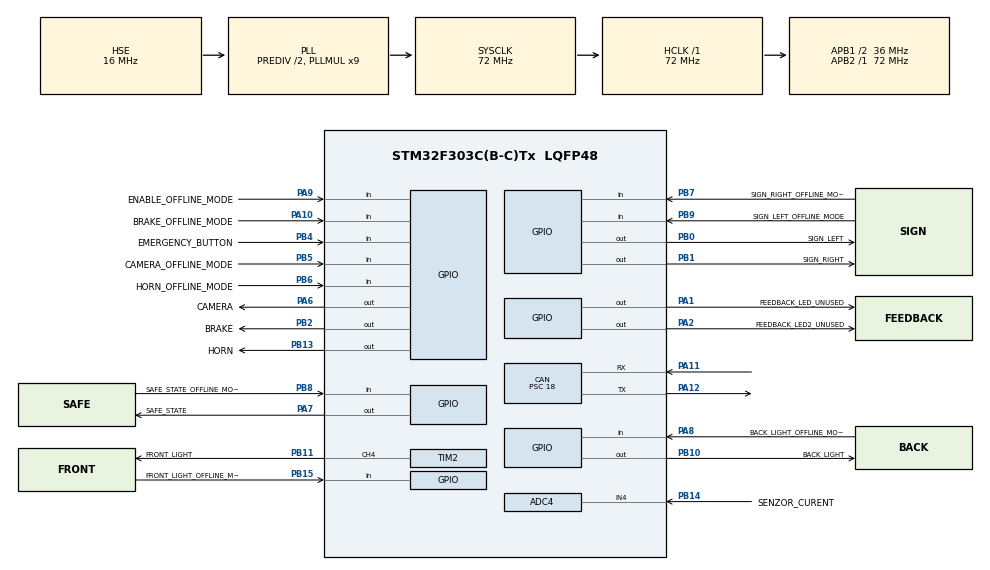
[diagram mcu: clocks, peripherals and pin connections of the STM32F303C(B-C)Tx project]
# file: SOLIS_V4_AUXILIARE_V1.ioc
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ADC4.Channel-0\#ChannelRegularConversion=ADC_CHANNEL_4
ADC4.NbrOfConversionFlag=1
ADC4.Offset-0\#ChannelRegularConversion=0
ADC4.OffsetNumber-0\#ChannelRegularConversion=ADC_OFFSET_NONE
ADC4.Rank-0\#ChannelRegularConversion=1
ADC4.SamplingTime-0\#ChannelRegularConversion=ADC_SAMPLETIME_1CYCLE_5
ADC4.SamplingTimeOPAMP-0\#ChannelRegularConversion=ADC_SAMPLETIME_61CYCLES_5
CAN.BS1=CAN_BS1_5TQ
CAN.BS2=CAN_BS2_2TQ
CAN.CalculateBaudRate=250000
CAN.CalculateTimeBit=4000
CAN.CalculateTimeQuantum=500.0
CAN.NART=ENABLE
CAN.Prescaler=18
Mcu.Family=STM32F3
Mcu.Name=STM32F303C(B-C)Tx
Mcu.Package=LQFP48
NVIC.PriorityGroup=NVIC_PRIORITYGROUP_4
NVIC.TIM3_IRQn=true\:0\:0\:false\:false\:true\:true\:true\:true
NVIC.TIM4_IRQn=true\:0\:0\:false\:false\:true\:true\:true\:true
NVIC.USB_LP_CAN_RX0_IRQn=true\:0\:0\:false\:false\:true\:true\:true\:true
PA1.GPIO_Label=FEEDBACK_LED_UNUSED
PA1.PinState=GPIO_PIN_SET
PA1.Signal=GPIO_Output
PA10.GPIO_Label=BRAKE_OFFLINE_MODE
PA10.Signal=GPIO_Input
PA11.Mode=CAN_Activate
PA11.Signal=CAN_RX
PA12.Mode=CAN_Activate
PA12.Signal=CAN_TX
PA13.Mode=Serial_Wire
PA13.Signal=SYS_JTMS-SWDIO
PA14.Mode=Serial_Wire
PA14.Signal=SYS_JTCK-SWCLK
PA2.GPIO_Label=FEEDBACK_LED2_UNUSED
PA2.PinState=GPIO_PIN_SET
PA2.Signal=GPIO_Output
PA6.GPIO_Label=CAMERA
PA6.Signal=GPIO_Output
PA7.GPIO_Label=SAFE_STATE
PA7.Signal=GPIO_Output
PA8.GPIO_Label=BACK_LIGHT_OFFLINE_MODE
PA8.Signal=GPIO_Input
PA9.GPIO_Label=ENABLE_OFFLINE_MODE
PA9.Signal=GPIO_Input
PB0.GPIO_Label=SIGN_LEFT
PB0.PinState=GPIO_PIN_SET
PB0.Signal=GPIO_Output
PB0.Stacked=true
PB1.GPIO_Label=SIGN_RIGHT
PB1.PinState=GPIO_PIN_SET
PB1.Signal=GPIO_Output
PB1.Stacked=true
PB10.GPIO_Label=BACK_LIGHT
PB10.PinState=GPIO_PIN_SET
PB10.Signal=GPIO_Output
PB11.GPIO_Label=FRONT_LIGHT
PB11.GPIO_PuPd=GPIO_PULLDOWN
PB11.Signal=S_TIM2_CH4
PB13.GPIO_Label=HORN
PB13.PinState=GPIO_PIN_SET
PB13.Signal=GPIO_Output
PB14.GPIO_Label=SENZOR_CURENT
PB14.Mode=IN4-Single-Ended
PB14.Signal=ADC4_IN4
PB15.GPIO_Label=FRONT_LIGHT_OFFLINE_MODE
PB15.Signal=GPIO_Input
PB2.GPIO_Label=BRAKE
PB2.PinState=GPIO_PIN_SET
PB2.Signal=GPIO_Output
PB4.GPIO_Label=EMERGENCY_BUTTON
PB4.Signal=GPIO_Input
PB5.GPIO_Label=CAMERA_OFFLINE_MODE
PB5.Signal=GPIO_Input
PB6.GPIO_Label=HORN_OFFLINE_MODE
PB6.Signal=GPIO_Input
PB7.GPIO_Label=SIGN_RIGHT_OFFLINE_MODE
PB7.Signal=GPIO_Input
PB8.GPIO_Label=SAFE_STATE_OFFLINE_MODE
PB8.Signal=GPIO_Input
PB9.GPIO_Label=SIGN_LEFT_OFFLINE_MODE
PB9.Signal=GPIO_Input
PF0-OSC_IN.Mode=HSE-External-Oscillator
PF0-OSC_IN.Signal=RCC_OSC_IN
PF1-OSC_OUT.Mode=HSE-External-Oscillator
PF1-OSC_OUT.Signal=RCC_OSC_OUT
ProjectManager.HeapSize=0x200
ProjectManager.StackSize=0x400
ProjectManager.TargetToolchain=STM32CubeIDE
RCC.AHBFreq_Value=72000000
RCC.APB1CLKDivider=RCC_HCLK_DIV2
RCC.APB1Freq_Value=36000000
RCC.APB1TimFreq_Value=72000000
RCC.APB2Freq_Value=72000000
RCC.APB2TimFreq_Value=72000000
RCC.CortexFreq_Value=72000000
RCC.HCLKFreq_Value=72000000
RCC.HSE_VALUE=16000000
RCC.HSI_VALUE=8000000
RCC.LSE_VALUE=32768
RCC.PLLMUL=RCC_PLL_MUL9
RCC.PLLSourceVirtual=RCC_PLLSOURCE_HSE
RCC.RCC_PLLsource_Clock_Source_FROM_HSE=RCC_HSE_PREDIV_DIV2
RCC.SYSCLKFreq_VALUE=72000000
RCC.SYSCLKSourceVirtual=RCC_SYSCLKSOURCE_PLLCLK
RCC.USBFreq_Value=72000000
SH.S_TIM2_CH4.0=TIM2_CH4,PWM Generation4 CH4
TIM2.AutoReloadPreload=TIM_AUTORELOAD_PRELOAD_ENABLE
TIM2.Channel-PWM\ Generation4\ CH4=TIM_CHANNEL_4
TIM2.OC4Preload_PWM=DISABLE
TIM2.Period=99
TIM2.Prescaler=7199
TIM2.Pulse-PWM\ Generation4\ CH4=100
TIM3.Period=766
TIM3.Prescaler=7199
TIM4.AutoReloadPreload=TIM_AUTORELOAD_PRELOAD_DISABLE
TIM4.Period=565
TIM4.Prescaler=7199
VP_TIM2_VS_ClockSourceINT.Mode=Internal
VP_TIM3_VS_ClockSourceINT.Mode=Internal
VP_TIM4_VS_ClockSourceINT.Mode=Internal
board=custom

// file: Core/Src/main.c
/* USER CODE BEGIN Header */
/**
  ******************************************************************************
  * @file           : main.c
  * @brief          : Main program body
  ******************************************************************************
  * @attention
  *
  * Copyright (c) 2024 STMicroelectronics.
  * All rights reserved.
  *
  * This software is licensed under terms that can be found in the LICENSE file
  * in the root directory of this software component.
  * If no LICENSE file comes with this software, it is provided AS-IS.
  *
  ******************************************************************************
  */
/* USER CODE END Header */
#include "main.h"

/* USER CODE BEGIN Includes */
#include "functions.h"

/* USER CODE END Includes */

ADC_HandleTypeDef hadc4;

CAN_HandleTypeDef hcan;

TIM_HandleTypeDef htim2;
TIM_HandleTypeDef htim3;
TIM_HandleTypeDef htim4;

void SystemClock_Config(void);
static void MX_GPIO_Init(void);
static void MX_CAN_Init(void);
static void MX_TIM2_Init(void);
static void MX_ADC4_Init(void);
static void MX_TIM3_Init(void);
static void MX_TIM4_Init(void);

int main(void)
{

  /* MCU Configuration--------------------------------------------------------*/

  /* Reset of all peripherals, Initializes the Flash interface and the Systick. */
  HAL_Init();

  /* Configure the system clock */
  SystemClock_Config();

  /* Initialize all configured peripherals */
  MX_GPIO_Init();
  MX_CAN_Init();
  MX_TIM2_Init();
  MX_ADC4_Init();
  MX_TIM3_Init();
  MX_TIM4_Init();
  /* USER CODE BEGIN 2 */
  HAL_Delay(2000); // asteptare pentru configurarea celorlalte sisteme, daca e nevoie

  HAL_CAN_Start(&hcan);

  HAL_TIM_PWM_Start(&htim2, TIM_CHANNEL_4);

  HAL_TIM_Base_Start_IT(&htim4); //56ms
  HAL_TIM_Base_Start_IT(&htim3); // 76ms

  HAL_Delay(90); // ca sa se faca odata functia Update_State cu 0x00 pentru a regla semnalizarile (TOGGLE_STATE-urile)

  HAL_CAN_ActivateNotification(&hcan, CAN_IT_RX_FIFO0_MSG_PENDING);

  /* USER CODE END 2 */

  /* Infinite loop */
  while (1)
  {

  }
}

void SystemClock_Config(void)
{
  RCC_OscInitTypeDef RCC_OscInitStruct = {0};
  RCC_ClkInitTypeDef RCC_ClkInitStruct = {0};
  RCC_PeriphCLKInitTypeDef PeriphClkInit = {0};

  /** Initializes the RCC Oscillators according to the specified parameters
  * in the RCC_OscInitTypeDef structure.
  */
  RCC_OscInitStruct.OscillatorType = RCC_OSCILLATORTYPE_HSE;
  RCC_OscInitStruct.HSEState = RCC_HSE_ON;
  RCC_OscInitStruct.HSEPredivValue = RCC_HSE_PREDIV_DIV2;
  RCC_OscInitStruct.HSIState = RCC_HSI_ON;
  RCC_OscInitStruct.PLL.PLLState = RCC_PLL_ON;
  RCC_OscInitStruct.PLL.PLLSource = RCC_PLLSOURCE_HSE;
  RCC_OscInitStruct.PLL.PLLMUL = RCC_PLL_MUL9;
  if (HAL_RCC_OscConfig(&RCC_OscInitStruct) != HAL_OK)
  {
    Error_Handler();
  }

  /** Initializes the CPU, AHB and APB buses clocks
  */
  RCC_ClkInitStruct.ClockType = RCC_CLOCKTYPE_HCLK|RCC_CLOCKTYPE_SYSCLK
                              |RCC_CLOCKTYPE_PCLK1|RCC_CLOCKTYPE_PCLK2;
  RCC_ClkInitStruct.SYSCLKSource = RCC_SYSCLKSOURCE_PLLCLK;
  RCC_ClkInitStruct.AHBCLKDivider = RCC_SYSCLK_DIV1;
  RCC_ClkInitStruct.APB1CLKDivider = RCC_HCLK_DIV2;
  RCC_ClkInitStruct.APB2CLKDivider = RCC_HCLK_DIV1;

  if (HAL_RCC_ClockConfig(&RCC_ClkInitStruct, FLASH_LATENCY_2) != HAL_OK)
  {
    Error_Handler();
  }
  PeriphClkInit.PeriphClockSelection = RCC_PERIPHCLK_ADC34;
  PeriphClkInit.Adc34ClockSelection = RCC_ADC34PLLCLK_DIV1;
  if (HAL_RCCEx_PeriphCLKConfig(&PeriphClkInit) != HAL_OK)
  {
    Error_Handler();
  }
}

static void MX_ADC4_Init(void)
{

  ADC_ChannelConfTypeDef sConfig = {0};

  /** Common config
  */
  hadc4.Instance = ADC4;
  hadc4.Init.ClockPrescaler = ADC_CLOCK_ASYNC_DIV1;
  hadc4.Init.Resolution = ADC_RESOLUTION_12B;
  hadc4.Init.ScanConvMode = ADC_SCAN_DISABLE;
  hadc4.Init.ContinuousConvMode = DISABLE;
  hadc4.Init.DiscontinuousConvMode = DISABLE;
  hadc4.Init.ExternalTrigConvEdge = ADC_EXTERNALTRIGCONVEDGE_NONE;
  hadc4.Init.ExternalTrigConv = ADC_SOFTWARE_START;
  hadc4.Init.DataAlign = ADC_DATAALIGN_RIGHT;
  hadc4.Init.NbrOfConversion = 1;
  hadc4.Init.DMAContinuousRequests = DISABLE;
  hadc4.Init.EOCSelection = ADC_EOC_SINGLE_CONV;
  hadc4.Init.LowPowerAutoWait = DISABLE;
  hadc4.Init.Overrun = ADC_OVR_DATA_OVERWRITTEN;
  if (HAL_ADC_Init(&hadc4) != HAL_OK)
  {
    Error_Handler();
  }

  /** Configure Regular Channel
  */
  sConfig.Channel = ADC_CHANNEL_4;
  sConfig.Rank = ADC_REGULAR_RANK_1;
  sConfig.SingleDiff = ADC_SINGLE_ENDED;
  sConfig.SamplingTime = ADC_SAMPLETIME_1CYCLE_5;
  sConfig.OffsetNumber = ADC_OFFSET_NONE;
  sConfig.Offset = 0;
  if (HAL_ADC_ConfigChannel(&hadc4, &sConfig) != HAL_OK)
  {
    Error_Handler();
  }

}

static void MX_CAN_Init(void)
{

  hcan.Instance = CAN;
  hcan.Init.Prescaler = 18;
  hcan.Init.Mode = CAN_MODE_NORMAL;
  hcan.Init.SyncJumpWidth = CAN_SJW_1TQ;
  hcan.Init.TimeSeg1 = CAN_BS1_5TQ;
  hcan.Init.TimeSeg2 = CAN_BS2_2TQ;
  hcan.Init.TimeTriggeredMode = DISABLE;
  hcan.Init.AutoBusOff = DISABLE;
  hcan.Init.AutoWakeUp = DISABLE;
  hcan.Init.AutoRetransmission = ENABLE;
  hcan.Init.ReceiveFifoLocked = DISABLE;
  hcan.Init.TransmitFifoPriority = DISABLE;
  if (HAL_CAN_Init(&hcan) != HAL_OK)
  {
    Error_Handler();
  }
  /* USER CODE BEGIN CAN_Init 2 */

  	CAN_FilterTypeDef canfilterconfig;

  	canfilterconfig.FilterActivation = CAN_FILTER_ENABLE;
  	canfilterconfig.FilterBank = 10;
  	canfilterconfig.FilterFIFOAssignment = CAN_RX_FIFO0;
  	canfilterconfig.FilterIdHigh = DASHBOARD_ID << 5; //this tells what to compare the incoming data to
  	canfilterconfig.FilterIdLow = 0x0000;
  	canfilterconfig.FilterMaskIdHigh = DASHBOARD_ID << 5; //this tells which bits to compare
  	canfilterconfig.FilterMaskIdLow = 0x0000;
  	canfilterconfig.FilterMode = CAN_FILTERMODE_IDMASK;
  	canfilterconfig.FilterScale = CAN_FILTERSCALE_32BIT;
  	canfilterconfig.SlaveStartFilterBank = 10;

  	HAL_CAN_ConfigFilter(&hcan, &canfilterconfig);

  /* USER CODE END CAN_Init 2 */

}

static void MX_TIM2_Init(void)
{

  TIM_ClockConfigTypeDef sClockSourceConfig = {0};
  TIM_MasterConfigTypeDef sMasterConfig = {0};
  TIM_OC_InitTypeDef sConfigOC = {0};

  htim2.Instance = TIM2;
  htim2.Init.Prescaler = 7199;
  htim2.Init.CounterMode = TIM_COUNTERMODE_UP;
  htim2.Init.Period = 99;
  htim2.Init.ClockDivision = TIM_CLOCKDIVISION_DIV1;
  htim2.Init.AutoReloadPreload = TIM_AUTORELOAD_PRELOAD_ENABLE;
  if (HAL_TIM_Base_Init(&htim2) != HAL_OK)
  {
    Error_Handler();
  }
  sClockSourceConfig.ClockSource = TIM_CLOCKSOURCE_INTERNAL;
  if (HAL_TIM_ConfigClockSource(&htim2, &sClockSourceConfig) != HAL_OK)
  {
    Error_Handler();
  }
  if (HAL_TIM_PWM_Init(&htim2) != HAL_OK)
  {
    Error_Handler();
  }
  sMasterConfig.MasterOutputTrigger = TIM_TRGO_RESET;
  sMasterConfig.MasterSlaveMode = TIM_MASTERSLAVEMODE_DISABLE;
  if (HAL_TIMEx_MasterConfigSynchronization(&htim2, &sMasterConfig) != HAL_OK)
  {
    Error_Handler();
  }
  sConfigOC.OCMode = TIM_OCMODE_PWM1;
  sConfigOC.Pulse = 100;
  sConfigOC.OCPolarity = TIM_OCPOLARITY_HIGH;
  sConfigOC.OCFastMode = TIM_OCFAST_DISABLE;
  if (HAL_TIM_PWM_ConfigChannel(&htim2, &sConfigOC, TIM_CHANNEL_4) != HAL_OK)
  {
    Error_Handler();
  }
  __HAL_TIM_DISABLE_OCxPRELOAD(&htim2, TIM_CHANNEL_4);
  HAL_TIM_MspPostInit(&htim2);

}

static void MX_TIM3_Init(void)
{

  TIM_ClockConfigTypeDef sClockSourceConfig = {0};
  TIM_MasterConfigTypeDef sMasterConfig = {0};

  htim3.Instance = TIM3;
  htim3.Init.Prescaler = 7199;
  htim3.Init.CounterMode = TIM_COUNTERMODE_UP;
  htim3.Init.Period = 766;
  htim3.Init.ClockDivision = TIM_CLOCKDIVISION_DIV1;
  htim3.Init.AutoReloadPreload = TIM_AUTORELOAD_PRELOAD_DISABLE;
  if (HAL_TIM_Base_Init(&htim3) != HAL_OK)
  {
    Error_Handler();
  }
  sClockSourceConfig.ClockSource = TIM_CLOCKSOURCE_INTERNAL;
  if (HAL_TIM_ConfigClockSource(&htim3, &sClockSourceConfig) != HAL_OK)
  {
    Error_Handler();
  }
  sMasterConfig.MasterOutputTrigger = TIM_TRGO_RESET;
  sMasterConfig.MasterSlaveMode = TIM_MASTERSLAVEMODE_DISABLE;
  if (HAL_TIMEx_MasterConfigSynchronization(&htim3, &sMasterConfig) != HAL_OK)
  {
    Error_Handler();
  }

}

static void MX_TIM4_Init(void)
{

  TIM_ClockConfigTypeDef sClockSourceConfig = {0};
  TIM_MasterConfigTypeDef sMasterConfig = {0};

  htim4.Instance = TIM4;
  htim4.Init.Prescaler = 7199;
  htim4.Init.CounterMode = TIM_COUNTERMODE_UP;
  htim4.Init.Period = 565;
  htim4.Init.ClockDivision = TIM_CLOCKDIVISION_DIV1;
  htim4.Init.AutoReloadPreload = TIM_AUTORELOAD_PRELOAD_DISABLE;
  if (HAL_TIM_Base_Init(&htim4) != HAL_OK)
  {
    Error_Handler();
  }
  sClockSourceConfig.ClockSource = TIM_CLOCKSOURCE_INTERNAL;
  if (HAL_TIM_ConfigClockSource(&htim4, &sClockSourceConfig) != HAL_OK)
  {
    Error_Handler();
  }
  sMasterConfig.MasterOutputTrigger = TIM_TRGO_RESET;
  sMasterConfig.MasterSlaveMode = TIM_MASTERSLAVEMODE_DISABLE;
  if (HAL_TIMEx_MasterConfigSynchronization(&htim4, &sMasterConfig) != HAL_OK)
  {
    Error_Handler();
  }

}

static void MX_GPIO_Init(void)
{
  GPIO_InitTypeDef GPIO_InitStruct = {0};

  /* GPIO Ports Clock Enable */
  __HAL_RCC_GPIOF_CLK_ENABLE();
  __HAL_RCC_GPIOA_CLK_ENABLE();
  __HAL_RCC_GPIOB_CLK_ENABLE();

  /*Configure GPIO pin Output Level */
  HAL_GPIO_WritePin(GPIOA, FEEDBACK_LED_UNUSED_Pin|FEEDBACK_LED2_UNUSED_Pin, GPIO_PIN_SET);

  /*Configure GPIO pin Output Level */
  HAL_GPIO_WritePin(GPIOA, CAMERA_Pin|SAFE_STATE_Pin, GPIO_PIN_RESET);

  /*Configure GPIO pin Output Level */
  HAL_GPIO_WritePin(GPIOB, SIGN_LEFT_Pin|SIGN_RIGHT_Pin|BRAKE_Pin|BACK_LIGHT_Pin
                          |HORN_Pin, GPIO_PIN_SET);

  /*Configure GPIO pins : FEEDBACK_LED_UNUSED_Pin FEEDBACK_LED2_UNUSED_Pin CAMERA_Pin SAFE_STATE_Pin */
  GPIO_InitStruct.Pin = FEEDBACK_LED_UNUSED_Pin|FEEDBACK_LED2_UNUSED_Pin|CAMERA_Pin|SAFE_STATE_Pin;
  GPIO_InitStruct.Mode = GPIO_MODE_OUTPUT_PP;
  GPIO_InitStruct.Pull = GPIO_NOPULL;
  GPIO_InitStruct.Speed = GPIO_SPEED_FREQ_LOW;
  HAL_GPIO_Init(GPIOA, &GPIO_InitStruct);

  /*Configure GPIO pins : SIGN_LEFT_Pin SIGN_RIGHT_Pin BRAKE_Pin BACK_LIGHT_Pin
                           HORN_Pin */
  GPIO_InitStruct.Pin = SIGN_LEFT_Pin|SIGN_RIGHT_Pin|BRAKE_Pin|BACK_LIGHT_Pin
                          |HORN_Pin;
  GPIO_InitStruct.Mode = GPIO_MODE_OUTPUT_PP;
  GPIO_InitStruct.Pull = GPIO_NOPULL;
  GPIO_InitStruct.Speed = GPIO_SPEED_FREQ_LOW;
  HAL_GPIO_Init(GPIOB, &GPIO_InitStruct);

  /*Configure GPIO pins : FRONT_LIGHT_OFFLINE_MODE_Pin EMERGENCY_BUTTON_Pin CAMERA_OFFLINE_MODE_Pin HORN_OFFLINE_MODE_Pin
                           SIGN_RIGHT_OFFLINE_MODE_Pin SAFE_STATE_OFFLINE_MODE_Pin SIGN_LEFT_OFFLINE_MODE_Pin */
  GPIO_InitStruct.Pin = FRONT_LIGHT_OFFLINE_MODE_Pin|EMERGENCY_BUTTON_Pin|CAMERA_OFFLINE_MODE_Pin|HORN_OFFLINE_MODE_Pin
                          |SIGN_RIGHT_OFFLINE_MODE_Pin|SAFE_STATE_OFFLINE_MODE_Pin|SIGN_LEFT_OFFLINE_MODE_Pin;
  GPIO_InitStruct.Mode = GPIO_MODE_INPUT;
  GPIO_InitStruct.Pull = GPIO_NOPULL;
  HAL_GPIO_Init(GPIOB, &GPIO_InitStruct);

  /*Configure GPIO pins : BACK_LIGHT_OFFLINE_MODE_Pin ENABLE_OFFLINE_MODE_Pin BRAKE_OFFLINE_MODE_Pin */
  GPIO_InitStruct.Pin = BACK_LIGHT_OFFLINE_MODE_Pin|ENABLE_OFFLINE_MODE_Pin|BRAKE_OFFLINE_MODE_Pin;
  GPIO_InitStruct.Mode = GPIO_MODE_INPUT;
  GPIO_InitStruct.Pull = GPIO_NOPULL;
  HAL_GPIO_Init(GPIOA, &GPIO_InitStruct);

}

void Error_Handler(void)
{
  __disable_irq();
  while (1)
  {
  }
}
